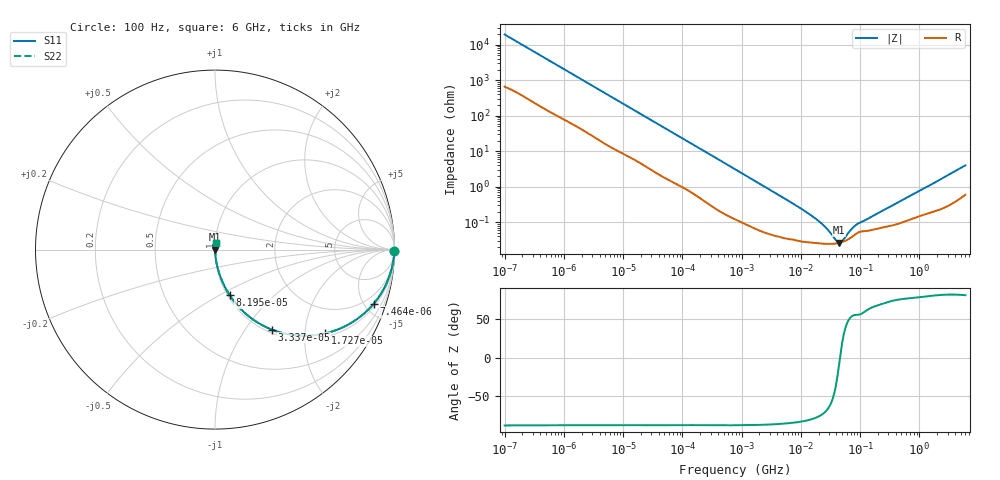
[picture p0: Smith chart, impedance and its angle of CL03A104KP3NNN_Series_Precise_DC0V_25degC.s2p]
! CL03A104KP3NNN Multilayer Ceramic Capacitor Sparameter Model
! Model Generated by Samsung Electro-Mechanics
! Samsung Sparameter Version 5.0
! Date : Jun-19-2026
! Products : Multilayer Ceramic Capacitor(General)
! Characteristics :
!  Nominal Capacitance = 100nF
!  Capacitance Tolerance = ¡¾10%
!  TCC = X5R(-55 ~ +85 degC.)
!  Rated Voltage = 10Vdc
!  Size = 0201(unit:inch), 0603(unit:mm)
!  Length = 0.60¡¾0.03mm
!  Width = 0.30¡¾0.03mm
!  Thickness = 0.30¡¾0.03mm
!  Reliability level = Standard
!  Lineup = Lineup Normal
!  Feature = Features Normal
!  Measurement Temperature : 25degC.
!  DC bias Value = 0V
!  Frequency : 100Hz ~ 6GHz
! External Node Assignments :
!  1  o---||---o  2
# MHz S RI R 50.0
! Freq.  Real(S11)  Im(S11)  Real(S12)  Im(S12)  Real(S21)  Im(S21)  Real(S22)  Im(S22)
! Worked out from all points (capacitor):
!   300 points, 100 Hz to 6 GHz, reference 50 ohm
!   read as one part in series: C = 81.6 nF near 106.2 Hz
!   lowest |Z| = 26.5 mohm at 44.16 MHz (marker M1)
!   series resonance near 45.89 MHz, so ESL is about 150 pH
!   S11 on the Smith chart (normalised r, x): 100 Hz: open; 7.464 kHz: 1.22, -5.77; 17.27 kHz: 1.10, -2.55; 33.37 kHz: 1.05, -1.34; 81.95 kHz: 1.02, -0.56; 6 GHz: 1.01, +0.08
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0.0001  0.9998 -0.00515  0.000202 0.00515  0.000202 0.00515  0.9998 -0.00515
0.0006031378  0.998 -0.0296  0.00197 0.0296  0.00197 0.0296  0.998 -0.0296
0.001998454  0.9873 -0.094  0.0127 0.094  0.0127 0.094  0.9873 -0.094
0.004353862  0.9532 -0.1933  0.0468 0.1933  0.0468 0.1933  0.9532 -0.1933
0.007464481  0.8838 -0.3021  0.1162 0.3021  0.1162 0.3021  0.8838 -0.3021
0.01135264  0.777 -0.3969  0.223 0.3969  0.223 0.3969  0.777 -0.3969
0.01726609  0.6147 -0.4667  0.3853 0.4667  0.3853 0.4667  0.6147 -0.4667
0.03336927  0.3174 -0.4462  0.6826 0.4462  0.6826 0.4462  0.3174 -0.4462
0.03993819  0.2493 -0.4134  0.7507 0.4134  0.7507 0.4134  0.2493 -0.4134
0.08195114  0.0814 -0.2534  0.9186 0.2534  0.9186 0.2534  0.0814 -0.2534
0.2268773  0.0146 -0.102  0.9854 0.102  0.9854 0.102  0.0146 -0.102
0.7981464  0.00209 -0.0301  0.9979 0.0301  0.9979 0.0301  0.00209 -0.0301
7.773385  0.000328 -0.00316  0.9997 0.00316  0.9997 0.00316  0.000328 -0.00316
15.95059  0.000266 -0.00141  0.9997 0.00141  0.9997 0.00141  0.000266 -0.00141
25.75656  0.000247 -0.000695  0.9998 0.000695  0.9998 0.000695  0.000247 -0.000695
39.17284  0.000251 -0.000183  0.9997 0.000183  0.9997 0.000183  0.000251 -0.000183
44.15834  0.000261 -4.39e-05  0.9997 4.39e-05  0.9997 4.39e-05  0.000261 -4.39e-05
49.77836  0.000276 9.43e-05  0.9997 -9.43e-05  0.9997 -9.43e-05  0.000276 9.43e-05
67.15989  0.000351 0.000441  0.9996 -0.000441  0.9996 -0.000441  0.000351 0.000441
85.34253  0.000469 0.00069  0.9995 -0.00069  0.9995 -0.00069  0.000469 0.00069
318.7652  0.000787 0.00259  0.9992 -0.00259  0.9992 -0.00259  0.000787 0.00259
6000  0.0074 0.0389  0.9926 -0.0389  0.9926 -0.0389  0.0074 0.0389
